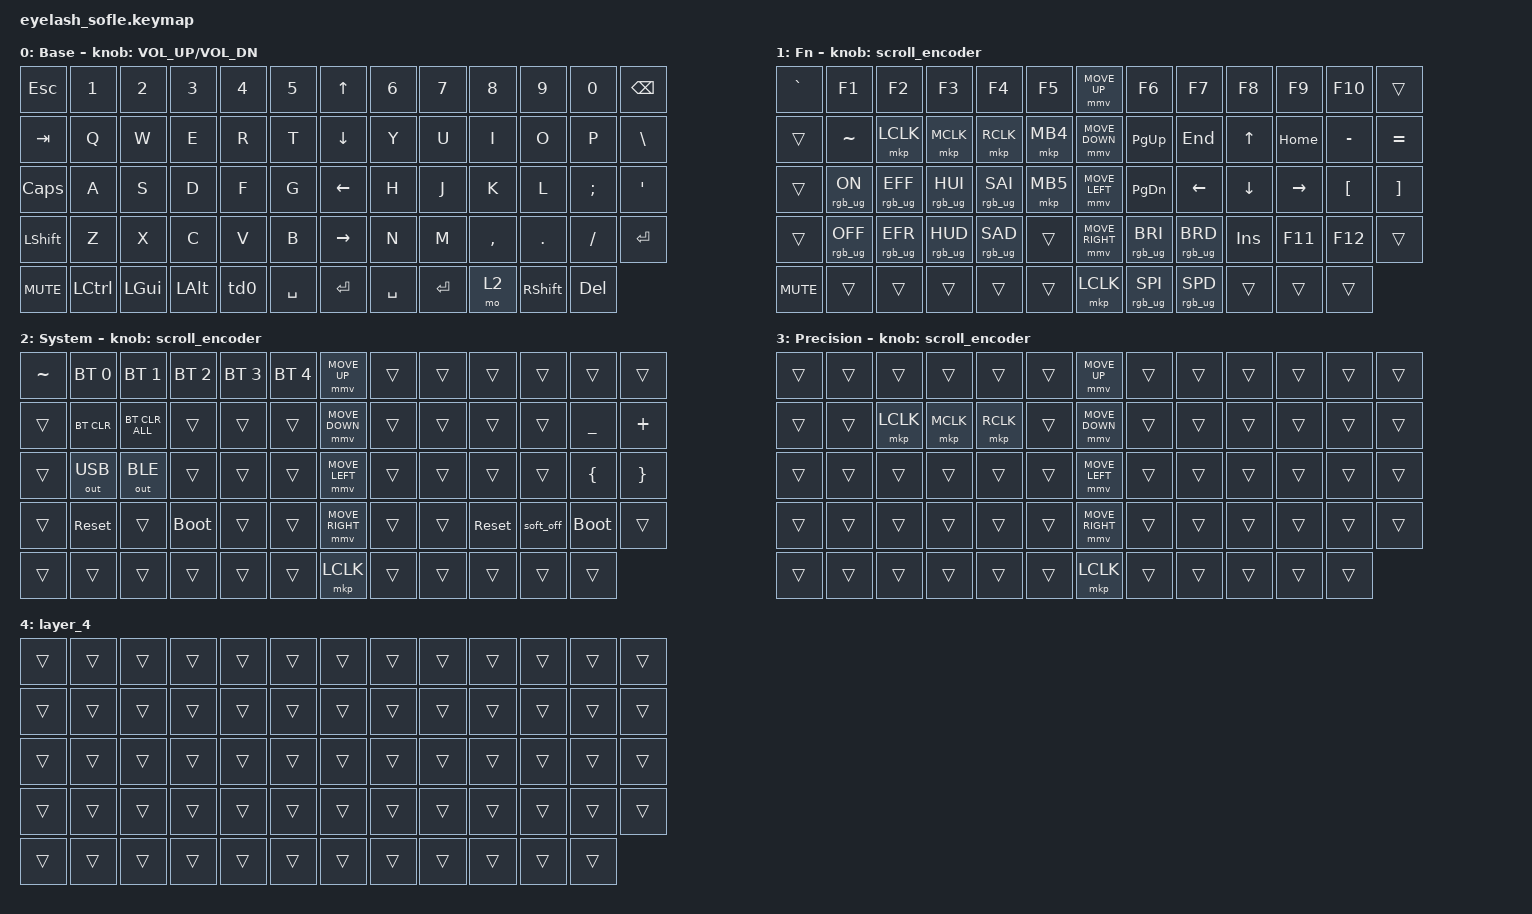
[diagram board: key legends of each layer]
#define ZMK_POINTING_DEFAULT_MOVE_VAL 1200  // 600
#define ZMK_POINTING_DEFAULT_SCRL_VAL 35    // 10
#include <input/processors.dtsi>
#include <behaviors.dtsi>
#include <dt-bindings/zmk/bt.h>
#include <dt-bindings/zmk/keys.h>
#include <dt-bindings/zmk/outputs.h>
#include <dt-bindings/zmk/pointing.h>
#include <dt-bindings/zmk/ext_power.h>
#include <dt-bindings/zmk/rgb.h>
#include <zephyr/dt-bindings/input/input-event-codes.h>

/ {
  zip_scroll_scaler: zip_scroll_scaler {
    compatible = "zmk,input-processor-scaler";
    #input-processor-cells = <2>;
    type = <INPUT_EV_REL>;
    codes = <INPUT_REL_WHEEL INPUT_REL_HWHEEL>;
    track-remainders;
  };
};

&mmv_input_listener {
       input-processors = <&zip_xy_scaler 2 1>;

    precision {
        layers = <3>;
        input-processors = <&zip_xy_scaler 1 4>;
    };
};

&msc_input_listener {
       input-processors = <&zip_scroll_scaler 2 1>;

    precision {
        layers = <3>;
        input-processors = <&zip_xy_scaler 1 4>;
    };
};

&msc {
    acceleration-exponent = <0>;      // 0
    time-to-max-speed-ms = <0>;       // 300
    delay-ms = <0>;                   // 0
};

&mmv {
    time-to-max-speed-ms = <400>;
    acceleration-exponent = <1>;
};


/ {
    scroll_encoder: scroll_encoder {
        compatible = "zmk,behavior-sensor-rotate";
        #sensor-binding-cells = <0>;
        bindings = <&msc SCRL_DOWN>, <&msc SCRL_UP>;

        tap-ms = <30>;
    };

    behaviors {
        td0: tap_dance_0 {
            compatible = "zmk,behavior-tap-dance";
            #binding-cells = <0>;
            tapping-term-ms = <200>;
            bindings = <&mo 1>, <&tog 1>, <&tog 3>;
        };
    };

    keymap {
        compatible = "zmk,keymap";

        layer0 {
            bindings = <
&kp ESC     &kp N1     &kp N2        &kp N3        &kp N4  &kp N5       &kp UP_ARROW     &kp N6     &kp N7     &kp N8     &kp N9           &kp N0      &kp BACKSPACE
&kp TAB     &kp Q      &kp W         &kp E         &kp R   &kp T        &kp DOWN_ARROW   &kp Y      &kp U      &kp I      &kp O            &kp P       &kp BSLH
&kp CAPS    &kp A      &kp S         &kp D         &kp F   &kp G        &kp LEFT_ARROW   &kp H      &kp J      &kp K      &kp L            &kp SEMI    &kp APOS
&kp LSHFT   &kp Z      &kp X         &kp C         &kp V   &kp B        &kp RIGHT_ARROW  &kp N      &kp M      &kp COMMA  &kp DOT          &kp FSLH    &kp ENTER
&kp C_MUTE  &kp LCTRL  &kp LEFT_GUI  &kp LEFT_ALT  &td0    &kp SPACE    &kp ENTER        &kp SPACE  &kp ENTER  &mo 2      &kp RIGHT_SHIFT  &kp DELETE
            >;

            sensor-bindings = <&inc_dec_kp C_VOLUME_UP C_VOL_DN>;
            display-name = "Base";
        };

        layer_1 {
            bindings = <
&kp GRAVE   &kp F1           &kp F2             &kp F3          &kp F4           &kp F5   &mmv MOVE_UP     &kp F6           &kp F7           &kp F8      &kp F9     &kp F10           &trans
&trans      &kp TILDE        &mkp LCLK          &mkp MCLK       &mkp RCLK        &mkp MB4 &mmv MOVE_DOWN   &kp PG_UP        &kp END          &kp UP      &kp HOME   &kp MINUS         &kp EQUAL
&trans      &rgb_ug RGB_ON   &rgb_ug RGB_EFF    &rgb_ug RGB_HUI &rgb_ug RGB_SAI  &mkp MB5 &mmv MOVE_LEFT   &kp PG_DN        &kp LEFT         &kp DOWN    &kp RIGHT  &kp LEFT_BRACKET  &kp RIGHT_BRACKET
&trans      &rgb_ug RGB_OFF  &rgb_ug RGB_EFR    &rgb_ug RGB_HUD &rgb_ug RGB_SAD  &trans   &mmv MOVE_RIGHT  &rgb_ug RGB_BRI  &rgb_ug RGB_BRD  &kp INSERT  &kp F11    &kp F12           &trans
&kp C_MUTE  &trans           &trans             &trans          &trans           &trans   &mkp LCLK        &rgb_ug RGB_SPI  &rgb_ug RGB_SPD  &trans      &trans     &trans
            >;

            display-name = "Fn";
            sensor-bindings = <&scroll_encoder>;
        };

        layer_2 {
            bindings = <
&kp TILDE  &bt BT_SEL 0  &bt BT_SEL 1    &bt BT_SEL 2  &bt BT_SEL 3  &bt BT_SEL 4    &mmv MOVE_UP     &trans  &trans  &trans      &trans     &trans       &trans
&trans     &bt BT_CLR    &bt BT_CLR_ALL  &trans        &trans        &trans          &mmv MOVE_DOWN   &trans  &trans  &trans      &trans     &kp UNDER    &kp PLUS
&trans     &out OUT_USB  &out OUT_BLE    &trans        &trans        &trans          &mmv MOVE_LEFT   &trans  &trans  &trans      &trans     &kp LBRC     &kp RBRC
&trans     &sys_reset    &trans          &bootloader   &trans        &trans          &mmv MOVE_RIGHT  &trans  &trans  &sys_reset  &soft_off  &bootloader  &trans
&trans     &trans        &trans          &trans        &trans        &trans          &mkp LCLK        &trans  &trans  &trans      &trans     &trans
            >;

            display-name = "System";
            sensor-bindings = <&scroll_encoder>;
        };

        layer_3 {
            bindings = <
&trans  &trans  &trans      &trans      &trans      &trans    &mmv MOVE_UP      &trans  &trans  &trans  &trans  &trans  &trans
&trans  &trans  &mkp LCLK   &mkp MCLK   &mkp RCLK   &trans    &mmv MOVE_DOWN    &trans  &trans  &trans  &trans  &trans  &trans
&trans  &trans  &trans      &trans      &trans      &trans    &mmv MOVE_LEFT    &trans  &trans  &trans  &trans  &trans  &trans
&trans  &trans  &trans      &trans      &trans      &trans    &mmv MOVE_RIGHT   &trans  &trans  &trans  &trans  &trans  &trans
&trans  &trans  &trans      &trans      &trans      &trans    &mkp LCLK         &trans  &trans  &trans  &trans  &trans
            >;

            display-name = "Precision";
            sensor-bindings = <&scroll_encoder>;
        };

        layer_4 {
            bindings = <
&trans  &trans  &trans  &trans  &trans  &trans    &trans  &trans  &trans  &trans  &trans  &trans  &trans
&trans  &trans  &trans  &trans  &trans  &trans    &trans  &trans  &trans  &trans  &trans  &trans  &trans
&trans  &trans  &trans  &trans  &trans  &trans    &trans  &trans  &trans  &trans  &trans  &trans  &trans
&trans  &trans  &trans  &trans  &trans  &trans    &trans  &trans  &trans  &trans  &trans  &trans  &trans
&trans  &trans  &trans  &trans  &trans  &trans    &trans  &trans  &trans  &trans  &trans  &trans
            >;
        };
    };
};
